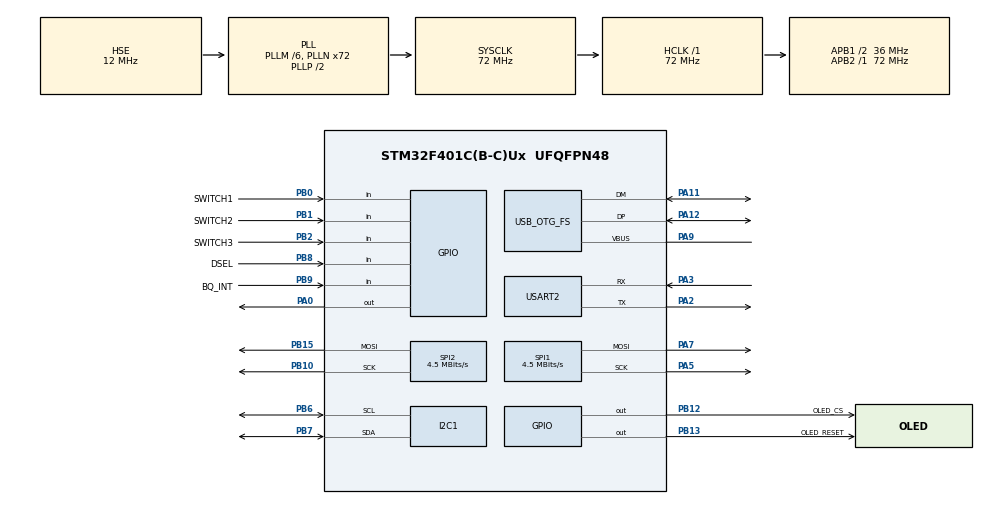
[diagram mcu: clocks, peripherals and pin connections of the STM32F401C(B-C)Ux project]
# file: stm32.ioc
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ARM.CMSIS.5.6.0.CMSISOoDriverJjUSBOoDeviceJjCustom=true
Dma.Request0=SPI2_TX
Dma.Request1=SPI1_TX
Dma.SPI1_TX.1.Direction=DMA_MEMORY_TO_PERIPH
Dma.SPI1_TX.1.FIFOMode=DMA_FIFOMODE_DISABLE
Dma.SPI1_TX.1.Instance=DMA2_Stream3
Dma.SPI1_TX.1.MemDataAlignment=DMA_MDATAALIGN_BYTE
Dma.SPI1_TX.1.MemInc=DMA_MINC_ENABLE
Dma.SPI1_TX.1.Mode=DMA_CIRCULAR
Dma.SPI1_TX.1.PeriphDataAlignment=DMA_PDATAALIGN_BYTE
Dma.SPI1_TX.1.PeriphInc=DMA_PINC_DISABLE
Dma.SPI1_TX.1.Priority=DMA_PRIORITY_VERY_HIGH
Dma.SPI2_TX.0.Direction=DMA_MEMORY_TO_PERIPH
Dma.SPI2_TX.0.FIFOMode=DMA_FIFOMODE_DISABLE
Dma.SPI2_TX.0.Instance=DMA1_Stream4
Dma.SPI2_TX.0.MemDataAlignment=DMA_MDATAALIGN_BYTE
Dma.SPI2_TX.0.MemInc=DMA_MINC_ENABLE
Dma.SPI2_TX.0.Mode=DMA_CIRCULAR
Dma.SPI2_TX.0.PeriphDataAlignment=DMA_PDATAALIGN_BYTE
Dma.SPI2_TX.0.PeriphInc=DMA_PINC_DISABLE
Dma.SPI2_TX.0.Priority=DMA_PRIORITY_VERY_HIGH
I2C1.I2C_Mode=I2C_Fast
Mcu.Family=STM32F4
Mcu.Name=STM32F401C(B-C)Ux
Mcu.Package=UFQFPN48
NVIC.DMA1_Stream4_IRQn=true\:0\:0\:true\:false\:true\:false\:true
NVIC.DMA2_Stream3_IRQn=true\:0\:0\:true\:false\:true\:false\:true
NVIC.FLASH_IRQn=true\:0\:0\:false\:false\:true\:true\:true
NVIC.OTG_FS_IRQn=true\:0\:0\:false\:false\:true\:true\:true
NVIC.PriorityGroup=NVIC_PRIORITYGROUP_4
NVIC.SPI1_IRQn=true\:0\:0\:true\:false\:true\:true\:true
NVIC.SPI2_IRQn=true\:0\:0\:true\:false\:true\:true\:true
NVIC.TIM2_IRQn=true\:0\:0\:true\:false\:true\:true\:true
PA0-WKUP.Signal=GPIO_Output
PA11.Mode=Device_Only
PA11.Signal=USB_OTG_FS_DM
PA12.Mode=Device_Only
PA12.Signal=USB_OTG_FS_DP
PA13.Mode=Serial_Wire
PA13.Signal=SYS_JTMS-SWDIO
PA14.Mode=Serial_Wire
PA14.Signal=SYS_JTCK-SWCLK
PA2.Mode=Asynchronous
PA2.Signal=USART2_TX
PA3.Mode=Asynchronous
PA3.Signal=USART2_RX
PA5.Mode=TX_Only_Simplex_Unidirect_Master
PA5.Signal=SPI1_SCK
PA7.Mode=TX_Only_Simplex_Unidirect_Master
PA7.Signal=SPI1_MOSI
PA9.Mode=Activate_VBUS
PA9.Signal=USB_OTG_FS_VBUS
PB0.GPIO_Label=SWITCH1
PB0.GPIO_Mode=GPIO_MODE_INPUT
PB0.GPIO_PuPd=GPIO_PULLUP
PB0.Signal=GPIO_Input
PB1.GPIO_Label=SWITCH2
PB1.GPIO_PuPd=GPIO_PULLUP
PB1.Signal=GPIO_Input
PB10.Mode=TX_Only_Simplex_Unidirect_Master
PB10.Signal=SPI2_SCK
PB12.GPIO_Label=OLED_CS
PB12.Signal=GPIO_Output
PB13.GPIO_Label=OLED_RESET
PB13.Signal=GPIO_Output
PB15.Mode=TX_Only_Simplex_Unidirect_Master
PB15.Signal=SPI2_MOSI
PB2.GPIO_Label=SWITCH3
PB2.GPIO_PuPd=GPIO_PULLUP
PB2.Signal=GPIO_Input
PB6.Mode=I2C
PB6.Signal=I2C1_SCL
PB7.Mode=I2C
PB7.Signal=I2C1_SDA
PB8.GPIO_Label=DSEL
PB8.Signal=GPIO_Input
PB9.GPIO_Label=BQ_INT
PB9.GPIO_PuPd=GPIO_NOPULL
PB9.Signal=GPIO_Input
PH0\ -\ OSC_IN.Mode=HSE-External-Oscillator
PH0\ -\ OSC_IN.Signal=RCC_OSC_IN
PH1\ -\ OSC_OUT.Mode=HSE-External-Oscillator
PH1\ -\ OSC_OUT.Signal=RCC_OSC_OUT
ProjectManager.HeapSize=0x200
ProjectManager.StackSize=0x400
ProjectManager.TargetToolchain=STM32CubeIDE
RCC.48MHZClocksFreq_Value=48000000
RCC.AHBFreq_Value=72000000
RCC.APB1CLKDivider=RCC_HCLK_DIV2
RCC.APB1Freq_Value=36000000
RCC.APB1TimFreq_Value=72000000
RCC.APB2Freq_Value=72000000
RCC.APB2TimFreq_Value=72000000
RCC.CortexFreq_Value=72000000
RCC.HCLKFreq_Value=72000000
RCC.HSE_VALUE=12000000
RCC.HSI_VALUE=16000000
RCC.LSE_VALUE=32768
RCC.PLLM=6
RCC.PLLN=72
RCC.PLLQ=3
RCC.SYSCLKFreq_VALUE=72000000
RCC.SYSCLKSource=RCC_SYSCLKSOURCE_PLLCLK
RCC.VCOOutputFreq_Value=144000000
SPI1.BaudRatePrescaler=SPI_BAUDRATEPRESCALER_16
SPI1.CLKPhase=SPI_PHASE_1EDGE
SPI1.CLKPolarity=SPI_POLARITY_LOW
SPI1.CalculateBaudRate=4.5 MBits/s
SPI1.Direction=SPI_DIRECTION_2LINES
SPI1.Mode=SPI_MODE_MASTER
SPI1.VirtualType=VM_MASTER
SPI2.BaudRatePrescaler=SPI_BAUDRATEPRESCALER_8
SPI2.CLKPolarity=SPI_POLARITY_LOW
SPI2.CalculateBaudRate=4.5 MBits/s
SPI2.Direction=SPI_DIRECTION_2LINES
SPI2.Mode=SPI_MODE_MASTER
SPI2.VirtualType=VM_MASTER
TIM2.AutoReloadPreload=TIM_AUTORELOAD_PRELOAD_ENABLE
TIM2.Period=41999
TIM2.Prescaler=1
USART2.VirtualMode=VM_ASYNC
USB_DEVICE.CLASS_NAME_FS=MSC
USB_DEVICE.VirtualMode=Msc
USB_DEVICE.VirtualModeFS=Msc_FS
USB_OTG_FS.VirtualMode=Device_Only
VP_IWDG_VS_IWDG.Mode=IWDG_Activate
VP_TIM2_VS_ClockSourceINT.Mode=Internal
VP_USB_DEVICE_VS_USB_DEVICE_MSC_FS.Mode=MSC_FS
board=custom

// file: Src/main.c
/* USER CODE BEGIN Header */
/**
  ******************************************************************************
  * @file           : main.c
  * @brief          : Main program body
  ******************************************************************************
  * @attention
  *
  * <h2><center>&copy; Copyright (c) 2020 STMicroelectronics.
  * All rights reserved.</center></h2>
  *
  * This software component is licensed by ST under BSD 3-Clause license,
  * the "License"; You may not use this file except in compliance with the
  * License. You may obtain a copy of the License at:
  *                        opensource.org/licenses/BSD-3-Clause
  *
  ******************************************************************************
  */
/* USER CODE END Header */

#include "main.h"
#include "usb_device.h"

/* USER CODE BEGIN Includes */
#include "emfat.h"
#if defined(PENDANT2020)
#include "../../printf.h"
#endif  // #if defined(PENDANT2020)
/* USER CODE END Includes */

/* USER CODE BEGIN PD */
#if defined(PENDANT2020) && !defined(BOOTLOADER)
void pendant_entry(void);
#endif  //  #if defined(PENDANT2020) && !defined(BOOTLOADER)

#if defined(PENDANT2020) && defined(BOOTLOADER)
void bootloader_entry(void);
#endif  //  #if defined(PENDANT2020) && defined(BOOTLOADER)
/* USER CODE END PD */

I2C_HandleTypeDef hi2c1;

IWDG_HandleTypeDef hiwdg;

SPI_HandleTypeDef hspi1;
SPI_HandleTypeDef hspi2;
DMA_HandleTypeDef hdma_spi1_tx;
DMA_HandleTypeDef hdma_spi2_tx;

TIM_HandleTypeDef htim2;

UART_HandleTypeDef huart2;

/* USER CODE BEGIN PV */
#if defined(PENDANT2020) && defined(BOOTLOADER)
emfat_t emfat;

#define FIRMWARE_SIZE (192*1024)
#define FIRMWARE_START (64*1024)
#define FIRMWARE_ADDR (0x08000000)
#define CMA_TIME EMFAT_ENCODE_CMA_TIME(9,7,2020,12,0,0)
#define CMA { CMA_TIME, CMA_TIME, CMA_TIME }

static void firmware_read_proc(uint8_t *data, int size, uint32_t offset, size_t userdata);
static void firmware_write_proc(const uint8_t *data, int size, uint32_t offset, size_t userdata);

static emfat_entry_t emfat_entries[] =
{
    // name           dir    lvl offset  size             max_size        user  time  read                write
    { "",             true,  0,  0,      0,               0,              0,    CMA,  NULL,               NULL,                { 0, 0, 0, 0, NULL, NULL, NULL } }, // root
    { "firmware.bin", false, 1,  0,      FIRMWARE_SIZE,   FIRMWARE_SIZE,  0,    CMA,  firmware_read_proc, firmware_write_proc, { 0, 0, 0, 0, NULL, NULL, NULL } }, // firmware.bin
    { NULL }
};
#endif  // #if defined(PENDANT2020) && defined(BOOTLOADER)
/* USER CODE END PV */

void SystemClock_Config(void);
static void MX_GPIO_Init(void);
static void MX_DMA_Init(void);
static void MX_I2C1_Init(void);
static void MX_SPI1_Init(void);
static void MX_SPI2_Init(void);
static void MX_USART2_UART_Init(void);
static void MX_TIM2_Init(void);
static void MX_IWDG_Init(void);

/* USER CODE BEGIN 0 */
#if defined(PENDANT2020) && defined(BOOTLOADER)

bool g_flashed = false;

static void firmware_read_proc(uint8_t *data, int size, uint32_t offset, size_t userdata) {
    for (int c = 0; c < size; c++) {
        *data ++ = ((const uint8_t *)(FIRMWARE_ADDR + FIRMWARE_START))[c + offset];
    }
}

static void firmware_write_proc(const uint8_t *data, int size, uint32_t offset, size_t userdata) {
    g_flashed = true;
    HAL_FLASH_Unlock();
    if (offset == 0) {
      __HAL_FLASH_CLEAR_FLAG(FLASH_FLAG_EOP | FLASH_FLAG_OPERR | FLASH_FLAG_WRPERR | FLASH_FLAG_PGAERR | FLASH_FLAG_PGPERR | FLASH_FLAG_PGSERR | HAL_FLASH_ERROR_PGA);
      printf("Erasing Sector 4\n");
      FLASH_Erase_Sector(FLASH_SECTOR_4, VOLTAGE_RANGE_3);
    }
    if (offset == 65536) {
      __HAL_FLASH_CLEAR_FLAG(FLASH_FLAG_EOP | FLASH_FLAG_OPERR | FLASH_FLAG_WRPERR | FLASH_FLAG_PGAERR | FLASH_FLAG_PGPERR | FLASH_FLAG_PGSERR | HAL_FLASH_ERROR_PGA);
      printf("Erasing Sector 5\n");
      FLASH_Erase_Sector(FLASH_SECTOR_5, VOLTAGE_RANGE_3);
    }
    __HAL_FLASH_CLEAR_FLAG(FLASH_FLAG_EOP | FLASH_FLAG_OPERR | FLASH_FLAG_WRPERR | FLASH_FLAG_PGAERR | FLASH_FLAG_PGPERR | FLASH_FLAG_PGSERR | HAL_FLASH_ERROR_PGA);
    for (int c = 0; c < size; c++) {
      uint32_t addr = FIRMWARE_ADDR + FIRMWARE_START + offset + c;
      HAL_StatusTypeDef status =
        HAL_FLASH_Program(FLASH_TYPEPROGRAM_BYTE, addr, data[c]);
      if (status != HAL_OK) {
          printf("HAL_FLASH_Program %08x %08x %08x %08x\n", status, HAL_FLASH_GetError(), addr, data[c]);
          break;
      }
    }
    HAL_FLASH_Lock();
}
#endif  // #if defined(PENDANT2020) && defined(BOOTLOADER)
/* USER CODE END 0 */

int main(void)
{

  /* MCU Configuration--------------------------------------------------------*/

  /* Reset of all peripherals, Initializes the Flash interface and the Systick. */
  HAL_Init();

  /* Configure the system clock */
  SystemClock_Config();

  /* USER CODE BEGIN SysInit */
#if defined(PENDANT2020) && defined(BOOTLOADER)
  MX_GPIO_Init();
  // Check user button
  if (HAL_GPIO_ReadPin(GPIOB, SWITCH3_Pin) != 0) {
      /* Check to see if we are in the main context */
      if ((__get_IPSR() & IPSR_ISR_Msk) == 0) {
        /* Check if valid stack address (RAM address) then jump to user application */
        if ((((*(volatile uint32_t *)(FIRMWARE_ADDR + FIRMWARE_START))) & 0x2FFE0000 ) == 0x20000000) {

          __HAL_FLASH_INSTRUCTION_CACHE_DISABLE();
          __HAL_FLASH_DATA_CACHE_DISABLE();
          __HAL_FLASH_PREFETCH_BUFFER_DISABLE();

	        HAL_RCC_DeInit();
        	HAL_DeInit();
          SysTick->CTRL = 0;
          SysTick->LOAD = 0;
          SysTick->VAL = 0;
          __HAL_SYSCFG_REMAPMEMORY_SYSTEMFLASH();

          __set_MSP(*(volatile uint32_t *)(FIRMWARE_ADDR + FIRMWARE_START));

          void (*SysMemBootJump)(void);
          SysMemBootJump = (void (*)(void)) (*((volatile uint32_t *)(FIRMWARE_ADDR + FIRMWARE_START + 4)));
          SysMemBootJump();

          while( 1 ) {}
        }
      }
  }
#endif  // #if defined(PENDANT2020) && defined(BOOTLOADER)

#if defined(PENDANT2020) && defined(BOOTLOADER)
  emfat_init(&emfat, "duckpond", emfat_entries);
#endif  // #if defined(BOOTLOADER)

  /* USER CODE END SysInit */

  /* Initialize all configured peripherals */
  MX_GPIO_Init();
  MX_DMA_Init();
  MX_I2C1_Init();
  MX_SPI1_Init();
  MX_SPI2_Init();
  MX_USART2_UART_Init();
  MX_TIM2_Init();
  MX_USB_DEVICE_Init();
  MX_IWDG_Init();

  /* Infinite loop */
  /* USER CODE BEGIN WHILE */
  while (1)
  {
#if defined(PENDANT2020) && !defined(BOOTLOADER)
    pendant_entry();
#endif  //  #if defined(PENDANT2020) && !defined(BOOTLOADER)

#if defined(PENDANT2020) && defined(BOOTLOADER)
    bootloader_entry();
#endif  //  #if defined(PENDANT2020) && !defined(BOOTLOADER)

    /* USER CODE END WHILE */

  }
}

void SystemClock_Config(void)
{
  RCC_OscInitTypeDef RCC_OscInitStruct = {0};
  RCC_ClkInitTypeDef RCC_ClkInitStruct = {0};

  /** Configure the main internal regulator output voltage
  */
  __HAL_RCC_PWR_CLK_ENABLE();
  __HAL_PWR_VOLTAGESCALING_CONFIG(PWR_REGULATOR_VOLTAGE_SCALE2);
  /** Initializes the CPU, AHB and APB busses clocks
  */
  RCC_OscInitStruct.OscillatorType = RCC_OSCILLATORTYPE_LSI|RCC_OSCILLATORTYPE_HSE;
  RCC_OscInitStruct.HSEState = RCC_HSE_ON;
  RCC_OscInitStruct.LSIState = RCC_LSI_ON;
  RCC_OscInitStruct.PLL.PLLState = RCC_PLL_ON;
  RCC_OscInitStruct.PLL.PLLSource = RCC_PLLSOURCE_HSE;
  RCC_OscInitStruct.PLL.PLLM = 6;
  RCC_OscInitStruct.PLL.PLLN = 72;
  RCC_OscInitStruct.PLL.PLLP = RCC_PLLP_DIV2;
  RCC_OscInitStruct.PLL.PLLQ = 3;
  if (HAL_RCC_OscConfig(&RCC_OscInitStruct) != HAL_OK)
  {
    Error_Handler();
  }
  /** Initializes the CPU, AHB and APB busses clocks
  */
  RCC_ClkInitStruct.ClockType = RCC_CLOCKTYPE_HCLK|RCC_CLOCKTYPE_SYSCLK
                              |RCC_CLOCKTYPE_PCLK1|RCC_CLOCKTYPE_PCLK2;
  RCC_ClkInitStruct.SYSCLKSource = RCC_SYSCLKSOURCE_PLLCLK;
  RCC_ClkInitStruct.AHBCLKDivider = RCC_SYSCLK_DIV1;
  RCC_ClkInitStruct.APB1CLKDivider = RCC_HCLK_DIV2;
  RCC_ClkInitStruct.APB2CLKDivider = RCC_HCLK_DIV1;

  if (HAL_RCC_ClockConfig(&RCC_ClkInitStruct, FLASH_LATENCY_2) != HAL_OK)
  {
    Error_Handler();
  }
}

static void MX_I2C1_Init(void)
{

  hi2c1.Instance = I2C1;
  hi2c1.Init.ClockSpeed = 400000;
  hi2c1.Init.DutyCycle = I2C_DUTYCYCLE_2;
  hi2c1.Init.OwnAddress1 = 0;
  hi2c1.Init.AddressingMode = I2C_ADDRESSINGMODE_7BIT;
  hi2c1.Init.DualAddressMode = I2C_DUALADDRESS_DISABLE;
  hi2c1.Init.OwnAddress2 = 0;
  hi2c1.Init.GeneralCallMode = I2C_GENERALCALL_DISABLE;
  hi2c1.Init.NoStretchMode = I2C_NOSTRETCH_DISABLE;
  if (HAL_I2C_Init(&hi2c1) != HAL_OK)
  {
    Error_Handler();
  }

}

static void MX_IWDG_Init(void)
{

  /* USER CODE BEGIN IWDG_Init 0 */
  #if defined(PENDANT2020) && defined(BOOTLOADER)
  return;
  #endif  // #if defined(PENDANT2020) && defined(BOOTLOADER)
  /* USER CODE END IWDG_Init 0 */

  hiwdg.Instance = IWDG;
  hiwdg.Init.Prescaler = IWDG_PRESCALER_4;
  hiwdg.Init.Reload = 4095;
  if (HAL_IWDG_Init(&hiwdg) != HAL_OK)
  {
    Error_Handler();
  }

}

static void MX_SPI1_Init(void)
{

  /* SPI1 parameter configuration*/
  hspi1.Instance = SPI1;
  hspi1.Init.Mode = SPI_MODE_MASTER;
  hspi1.Init.Direction = SPI_DIRECTION_2LINES;
  hspi1.Init.DataSize = SPI_DATASIZE_8BIT;
  hspi1.Init.CLKPolarity = SPI_POLARITY_LOW;
  hspi1.Init.CLKPhase = SPI_PHASE_1EDGE;
  hspi1.Init.NSS = SPI_NSS_SOFT;
  hspi1.Init.BaudRatePrescaler = SPI_BAUDRATEPRESCALER_16;
  hspi1.Init.FirstBit = SPI_FIRSTBIT_MSB;
  hspi1.Init.TIMode = SPI_TIMODE_DISABLE;
  hspi1.Init.CRCCalculation = SPI_CRCCALCULATION_DISABLE;
  hspi1.Init.CRCPolynomial = 10;
  if (HAL_SPI_Init(&hspi1) != HAL_OK)
  {
    Error_Handler();
  }

}

static void MX_SPI2_Init(void)
{

  /* SPI2 parameter configuration*/
  hspi2.Instance = SPI2;
  hspi2.Init.Mode = SPI_MODE_MASTER;
  hspi2.Init.Direction = SPI_DIRECTION_2LINES;
  hspi2.Init.DataSize = SPI_DATASIZE_8BIT;
  hspi2.Init.CLKPolarity = SPI_POLARITY_LOW;
  hspi2.Init.CLKPhase = SPI_PHASE_1EDGE;
  hspi2.Init.NSS = SPI_NSS_SOFT;
  hspi2.Init.BaudRatePrescaler = SPI_BAUDRATEPRESCALER_8;
  hspi2.Init.FirstBit = SPI_FIRSTBIT_MSB;
  hspi2.Init.TIMode = SPI_TIMODE_DISABLE;
  hspi2.Init.CRCCalculation = SPI_CRCCALCULATION_DISABLE;
  hspi2.Init.CRCPolynomial = 10;
  if (HAL_SPI_Init(&hspi2) != HAL_OK)
  {
    Error_Handler();
  }

}

static void MX_TIM2_Init(void)
{

  TIM_ClockConfigTypeDef sClockSourceConfig = {0};
  TIM_MasterConfigTypeDef sMasterConfig = {0};

  htim2.Instance = TIM2;
  htim2.Init.Prescaler = 1;
  htim2.Init.CounterMode = TIM_COUNTERMODE_UP;
  htim2.Init.Period = 41999;
  htim2.Init.ClockDivision = TIM_CLOCKDIVISION_DIV1;
  htim2.Init.AutoReloadPreload = TIM_AUTORELOAD_PRELOAD_ENABLE;
  if (HAL_TIM_Base_Init(&htim2) != HAL_OK)
  {
    Error_Handler();
  }
  sClockSourceConfig.ClockSource = TIM_CLOCKSOURCE_INTERNAL;
  if (HAL_TIM_ConfigClockSource(&htim2, &sClockSourceConfig) != HAL_OK)
  {
    Error_Handler();
  }
  sMasterConfig.MasterOutputTrigger = TIM_TRGO_RESET;
  sMasterConfig.MasterSlaveMode = TIM_MASTERSLAVEMODE_DISABLE;
  if (HAL_TIMEx_MasterConfigSynchronization(&htim2, &sMasterConfig) != HAL_OK)
  {
    Error_Handler();
  }

}

static void MX_USART2_UART_Init(void)
{

  huart2.Instance = USART2;
  huart2.Init.BaudRate = 115200;
  huart2.Init.WordLength = UART_WORDLENGTH_8B;
  huart2.Init.StopBits = UART_STOPBITS_1;
  huart2.Init.Parity = UART_PARITY_NONE;
  huart2.Init.Mode = UART_MODE_TX_RX;
  huart2.Init.HwFlowCtl = UART_HWCONTROL_NONE;
  huart2.Init.OverSampling = UART_OVERSAMPLING_16;
  if (HAL_UART_Init(&huart2) != HAL_OK)
  {
    Error_Handler();
  }

}

static void MX_DMA_Init(void)
{

  /* DMA controller clock enable */
  __HAL_RCC_DMA1_CLK_ENABLE();
  __HAL_RCC_DMA2_CLK_ENABLE();

  /* DMA interrupt init */
  /* DMA1_Stream4_IRQn interrupt configuration */
  HAL_NVIC_SetPriority(DMA1_Stream4_IRQn, 0, 0);
  HAL_NVIC_EnableIRQ(DMA1_Stream4_IRQn);
  /* DMA2_Stream3_IRQn interrupt configuration */
  HAL_NVIC_SetPriority(DMA2_Stream3_IRQn, 0, 0);
  HAL_NVIC_EnableIRQ(DMA2_Stream3_IRQn);

}

static void MX_GPIO_Init(void)
{
  GPIO_InitTypeDef GPIO_InitStruct = {0};

  /* GPIO Ports Clock Enable */
  __HAL_RCC_GPIOH_CLK_ENABLE();
  __HAL_RCC_GPIOA_CLK_ENABLE();
  __HAL_RCC_GPIOB_CLK_ENABLE();

  /*Configure GPIO pin Output Level */
  HAL_GPIO_WritePin(GPIOA, GPIO_PIN_0, GPIO_PIN_RESET);

  /*Configure GPIO pin Output Level */
  HAL_GPIO_WritePin(GPIOB, OLED_CS_Pin|OLED_RESET_Pin, GPIO_PIN_RESET);

  /*Configure GPIO pin : PA0 */
  GPIO_InitStruct.Pin = GPIO_PIN_0;
  GPIO_InitStruct.Mode = GPIO_MODE_OUTPUT_PP;
  GPIO_InitStruct.Pull = GPIO_NOPULL;
  GPIO_InitStruct.Speed = GPIO_SPEED_FREQ_LOW;
  HAL_GPIO_Init(GPIOA, &GPIO_InitStruct);

  /*Configure GPIO pins : SWITCH1_Pin SWITCH2_Pin SWITCH3_Pin */
  GPIO_InitStruct.Pin = SWITCH1_Pin|SWITCH2_Pin|SWITCH3_Pin;
  GPIO_InitStruct.Mode = GPIO_MODE_INPUT;
  GPIO_InitStruct.Pull = GPIO_PULLUP;
  HAL_GPIO_Init(GPIOB, &GPIO_InitStruct);

  /*Configure GPIO pins : OLED_CS_Pin OLED_RESET_Pin */
  GPIO_InitStruct.Pin = OLED_CS_Pin|OLED_RESET_Pin;
  GPIO_InitStruct.Mode = GPIO_MODE_OUTPUT_PP;
  GPIO_InitStruct.Pull = GPIO_NOPULL;
  GPIO_InitStruct.Speed = GPIO_SPEED_FREQ_LOW;
  HAL_GPIO_Init(GPIOB, &GPIO_InitStruct);

  /*Configure GPIO pins : DSEL_Pin BQ_INT_Pin */
  GPIO_InitStruct.Pin = DSEL_Pin|BQ_INT_Pin;
  GPIO_InitStruct.Mode = GPIO_MODE_INPUT;
  GPIO_InitStruct.Pull = GPIO_NOPULL;
  HAL_GPIO_Init(GPIOB, &GPIO_InitStruct);

}

void Error_Handler(void)
{
}

/************************ (C) COPYRIGHT STMicroelectronics *****END OF FILE****/
